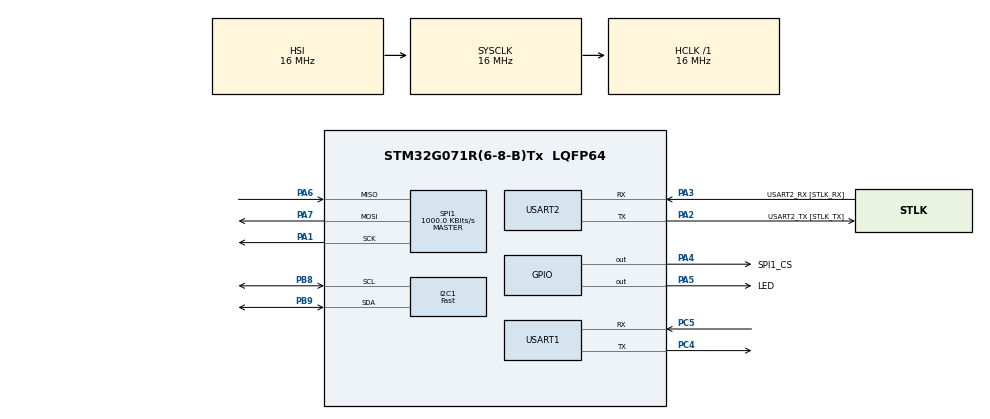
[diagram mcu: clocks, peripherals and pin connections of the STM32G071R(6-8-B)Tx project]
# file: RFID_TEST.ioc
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I2C1.I2C_Speed_Mode=I2C_Fast
I2C1.Timing=0x0010061A
Mcu.Family=STM32G0
Mcu.Name=STM32G071R(6-8-B)Tx
Mcu.Package=LQFP64
NVIC.I2C1_IRQn=true\:0\:0\:false\:false\:true\:true\:true
NVIC.SPI1_IRQn=true\:0\:0\:false\:false\:true\:true\:true
PA1.Mode=Full_Duplex_Master
PA1.Signal=SPI1_SCK
PA13.GPIO_Label=TMS
PA13.Mode=Serial_Wire
PA13.Signal=SYS_SWDIO
PA14-BOOT0.GPIO_Label=TCK
PA14-BOOT0.Mode=Serial_Wire
PA14-BOOT0.Signal=SYS_SWCLK
PA2.GPIO_Label=USART2_TX [STLK_TX]
PA2.Mode=Asynchronous
PA2.Signal=USART2_TX
PA3.GPIO_Label=USART2_RX [STLK_RX]
PA3.Mode=Asynchronous
PA3.Signal=USART2_RX
PA4.GPIO_Label=SPI1_CS
PA4.Signal=GPIO_Output
PA5.GPIO_Label=LED
PA5.Signal=GPIO_Output
PA6.Mode=Full_Duplex_Master
PA6.Signal=SPI1_MISO
PA7.Mode=Full_Duplex_Master
PA7.Signal=SPI1_MOSI
PB8.Mode=I2C
PB8.Signal=I2C1_SCL
PB9.Mode=I2C
PB9.Signal=I2C1_SDA
PC13.Mode=SYS_WakeUp1
PC13.Signal=SYS_WKUP2
PC14-OSC32_IN\ (PC14).Mode=LSE-External-Oscillator
PC14-OSC32_IN\ (PC14).Signal=RCC_OSC32_IN
PC15-OSC32_OUT\ (PC15).Mode=LSE-External-Oscillator
PC15-OSC32_OUT\ (PC15).Signal=RCC_OSC32_OUT
PC4.Mode=Asynchronous
PC4.Signal=USART1_TX
PC5.Mode=Asynchronous
PC5.Signal=USART1_RX
PF0-OSC_IN\ (PF0).GPIO_Label=MCO
PF0-OSC_IN\ (PF0).Mode=HSE-External-Clock-Source
PF0-OSC_IN\ (PF0).Signal=RCC_OSC_IN
ProjectManager.HeapSize=0x200
ProjectManager.StackSize=0x400
ProjectManager.TargetToolchain=TrueSTUDIO
RCC.ADCFreq_Value=16000000
RCC.AHBFreq_Value=16000000
RCC.CortexFreq_Value=16000000
RCC.EXTERNAL_CLOCK_VALUE=12288000
RCC.HCLKFreq_Value=16000000
RCC.HSE_VALUE=8000000
RCC.HSI_VALUE=16000000
RCC.SYSCLKFreq_VALUE=16000000
RCC.VCOOutputFreq_Value=128000000
SPI1.BaudRatePrescaler=SPI_BAUDRATEPRESCALER_16
SPI1.CRCCalculation=SPI_CRCCALCULATION_DISABLE
SPI1.CalculateBaudRate=1000.0 KBits/s
SPI1.DataSize=SPI_DATASIZE_8BIT
SPI1.Direction=SPI_DIRECTION_2LINES
SPI1.Mode=SPI_MODE_MASTER
SPI1.NSSPMode=SPI_NSS_PULSE_ENABLE
SPI1.VirtualType=VM_MASTER
USART1.VirtualMode-Asynchronous=VM_ASYNC
USART2.VirtualMode-Asynchronous=VM_ASYNC
VP_SYS_VS_DBSignals.Mode=DisableDeadBatterySignals
board=NUCLEO-G071RB

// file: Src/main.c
/* USER CODE BEGIN Header */
/**
 ******************************************************************************
 * @file           : main.c
 * @brief          : Main program body
 ******************************************************************************
 * @attention
 *
 * <h2><center>&copy; Copyright (c) 2020 STMicroelectronics.
 * All rights reserved.</center></h2>
 *
 * This software component is licensed by ST under BSD 3-Clause license,
 * the "License"; You may not use this file except in compliance with the
 * License. You may obtain a copy of the License at:
 *                        opensource.org/licenses/BSD-3-Clause
 *
 ******************************************************************************
 */
/* USER CODE END Header */

#include "main.h"

/* USER CODE BEGIN Includes */
#include <math.h>
#include <string.h>
#include <stdio.h>
#include <stdlib.h>
#include <stdbool.h>

#include "rc522.h"

/* USER CODE END Includes */

/* USER CODE BEGIN PD */

#define VERSION			0.0
#define SLAVE_ADDRESS_LCD 0x4E
/* USER CODE END PD */

I2C_HandleTypeDef hi2c1;

SPI_HandleTypeDef hspi1;

UART_HandleTypeDef huart1;
UART_HandleTypeDef huart2;

/* USER CODE BEGIN PV */
uint8_t k;
uint8_t i;
uint8_t j;
uint8_t b;
uint8_t q;
uint8_t en;
uint8_t ok;
uint8_t comand;
uint8_t text1[63] = "\r\n RFID 13.56 MHz\r\n";
uint8_t memIDtext[18] = " CARTAO ID OK   \r\n";
uint8_t text2[9] = "ID: \r\n";
uint8_t end[1] = "\r";
uint8_t txBuffer[18] = "ID: 00000000  ";
uint8_t retstr[10];
uint8_t rxBuffer[8]="CC00FFEE";
uint8_t lastID[4];
uint8_t memID[8] = "20957B4D";
uint8_t str[MFRC522_MAX_LEN];
uint8_t Data[140];
/* USER CODE END PV */

void SystemClock_Config(void);
static void MX_GPIO_Init(void);
static void MX_USART2_UART_Init(void);
static void MX_I2C1_Init(void);
static void MX_SPI1_Init(void);
static void MX_USART1_UART_Init(void);
/* USER CODE BEGIN PFP */

void fn_fprint(char *data);
void blink(uint8_t sec);

uint8_t MFRC522_Check(uint8_t* id);
uint8_t MFRC522_Compare(uint8_t* CardID, uint8_t* CompareID);
void MFRC522_WriteRegister(uint8_t addr, uint8_t val);
uint8_t MFRC522_ReadRegister(uint8_t addr);
void MFRC522_SetBitMask(uint8_t reg, uint8_t mask);
void MFRC522_ClearBitMask(uint8_t reg, uint8_t mask);
uint8_t MFRC522_Request(uint8_t reqMode, uint8_t* TagType);
uint8_t MFRC522_ToCard(uint8_t command, uint8_t* sendData, uint8_t sendLen,
		uint8_t* backData, uint16_t* backLen);
uint8_t MFRC522_Anticoll(uint8_t* serNum);
void MFRC522_CalulateCRC(uint8_t* pIndata, uint8_t len, uint8_t* pOutData);
uint8_t MFRC522_SelectTag(uint8_t* serNum);
uint8_t MFRC522_Auth(uint8_t authMode, uint8_t BlockAddr, uint8_t* Sectorkey,
		uint8_t* serNum);
uint8_t MFRC522_Read(uint8_t blockAddr, uint8_t* recvData);
uint8_t MFRC522_Write(uint8_t blockAddr, uint8_t* writeData);
void MFRC522_Init(void);
void MFRC522_Reset(void);
void MFRC522_AntennaOn(void);
void MFRC522_AntennaOff(void);
void MFRC522_Halt(void);

uint8_t hex_to_char(uint8_t data);

void char_to_hex(uint8_t data);
void StrTo();
void ToStr(uint32_t number);
void led(uint8_t n);
/* USER CODE END PFP */

int main(void) {

	/* MCU Configuration--------------------------------------------------------*/

	/* Reset of all peripherals, Initializes the Flash interface and the Systick. */
	HAL_Init();

	/* Configure the system clock */
	SystemClock_Config();

	/* Initialize all configured peripherals */
	MX_GPIO_Init();
	MX_USART2_UART_Init();
	MX_I2C1_Init();
	MX_SPI1_Init();
	MX_USART1_UART_Init();
	/* USER CODE BEGIN 2 */
	blink(10);
	fn_fprint("Start Program");
	fn_fprint("\r\n");
	cs_set
	MFRC522_Init();
	fn_fprint("MFRC522_Init");
	fn_fprint("\r\n");
	/* USER CODE END 2 */

	/* Infinite loop */
	while (1) {
		if (!MFRC522_Request(PICC_REQIDL, str)) {
			if (!MFRC522_Anticoll(str)) {
				j = 0;
				q = 0;
				b = 9;
				en = 1;

				for (i = 0; i < 4; i++)
					if (lastID[i] != str[i])
						j = 1;

				if (j && en) {
					q = 0;
					en = 0;
					for (i = 0; i < 4; i++)
						lastID[i] = str[i];
					for (i = 0; i < 4; i++) {
						char_to_hex(str[i]);
						txBuffer[b] = retstr[0];
						b++;
						txBuffer[b] = retstr[1];
						b++;
					}
					HAL_UART_Transmit(&huart1, txBuffer, 18, 100);
					HAL_UART_Transmit(&huart1, (uint8_t*)"\r\n", 2, 10);

					ok = 1;
					for (i = 0; i < 8; i++) {
						if (txBuffer[9 + i] != memID[i])
							ok = 0;
					}

					blink(1);
				}

				blink(1);
			}
		}

		if (ok == 1) {
			HAL_UART_Transmit(&huart1, memIDtext, 18, 100);
			HAL_Delay(200);
			ok = 0;
			for (i = 0; i < 10; i++) {
				LED_ON
				HAL_Delay(50);
				LED_OFF
				HAL_Delay(100);
			}
		}

		if (huart1.RxXferCount == 0) {
			blink(1);
			comand = rxBuffer[0];
			if (comand == '1') {
				blink(1);
				HAL_UART_Transmit(&huart1, txBuffer, 18, 100);

			}
			HAL_UART_Receive_IT(&huart1, (uint8_t*) rxBuffer, 1);
		}
		//HAL_UART_Transmit(&huart1, txBuffer, 18, 100);
/*		if (HAL_GPIO_ReadPin(GPIOA, GPIO_PIN_1) == GPIO_PIN_RESET) {
			HAL_UART_Transmit(&huart1, txBuffer, 18, 100);

			blink(1);
			while (HAL_GPIO_ReadPin(GPIOA, GPIO_PIN_1) == GPIO_PIN_RESET)
				;
			HAL_Delay(100);
		}*/

		//q++;
		//if (!q) {
			en = 1;									// Delay against scan kode
			//for (i = 0; i < 4; i++)
				lastID[0] = 0;				// Delay reading the same card 3s
				lastID[1] = 0;
				lastID[2] = 0;
				lastID[3] = 0;
		//}
		HAL_Delay(1);
	}
}

void SystemClock_Config(void) {
	RCC_OscInitTypeDef RCC_OscInitStruct = { 0 };
	RCC_ClkInitTypeDef RCC_ClkInitStruct = { 0 };
	RCC_PeriphCLKInitTypeDef PeriphClkInit = { 0 };

	/** Configure the main internal regulator output voltage
	 */
	HAL_PWREx_ControlVoltageScaling(PWR_REGULATOR_VOLTAGE_SCALE1);
	/** Initializes the CPU, AHB and APB busses clocks
	 */
	RCC_OscInitStruct.OscillatorType = RCC_OSCILLATORTYPE_HSI;
	RCC_OscInitStruct.HSIState = RCC_HSI_ON;
	RCC_OscInitStruct.HSIDiv = RCC_HSI_DIV1;
	RCC_OscInitStruct.HSICalibrationValue = RCC_HSICALIBRATION_DEFAULT;
	RCC_OscInitStruct.PLL.PLLState = RCC_PLL_NONE;
	if (HAL_RCC_OscConfig(&RCC_OscInitStruct) != HAL_OK) {
		Error_Handler();
	}
	/** Initializes the CPU, AHB and APB busses clocks
	 */
	RCC_ClkInitStruct.ClockType = RCC_CLOCKTYPE_HCLK | RCC_CLOCKTYPE_SYSCLK
			| RCC_CLOCKTYPE_PCLK1;
	RCC_ClkInitStruct.SYSCLKSource = RCC_SYSCLKSOURCE_HSI;
	RCC_ClkInitStruct.AHBCLKDivider = RCC_SYSCLK_DIV1;
	RCC_ClkInitStruct.APB1CLKDivider = RCC_HCLK_DIV1;

	if (HAL_RCC_ClockConfig(&RCC_ClkInitStruct, FLASH_LATENCY_0) != HAL_OK) {
		Error_Handler();
	}
	/** Initializes the peripherals clocks
	 */
	PeriphClkInit.PeriphClockSelection = RCC_PERIPHCLK_USART1
			| RCC_PERIPHCLK_USART2 | RCC_PERIPHCLK_I2C1;
	PeriphClkInit.Usart1ClockSelection = RCC_USART1CLKSOURCE_PCLK1;
	PeriphClkInit.Usart2ClockSelection = RCC_USART2CLKSOURCE_PCLK1;
	PeriphClkInit.I2c1ClockSelection = RCC_I2C1CLKSOURCE_PCLK1;
	if (HAL_RCCEx_PeriphCLKConfig(&PeriphClkInit) != HAL_OK) {
		Error_Handler();
	}
}

static void MX_I2C1_Init(void) {

	hi2c1.Instance = I2C1;
	hi2c1.Init.Timing = 0x0010061A;
	hi2c1.Init.OwnAddress1 = 0;
	hi2c1.Init.AddressingMode = I2C_ADDRESSINGMODE_7BIT;
	hi2c1.Init.DualAddressMode = I2C_DUALADDRESS_DISABLE;
	hi2c1.Init.OwnAddress2 = 0;
	hi2c1.Init.OwnAddress2Masks = I2C_OA2_NOMASK;
	hi2c1.Init.GeneralCallMode = I2C_GENERALCALL_DISABLE;
	hi2c1.Init.NoStretchMode = I2C_NOSTRETCH_DISABLE;
	if (HAL_I2C_Init(&hi2c1) != HAL_OK) {
		Error_Handler();
	}
	/** Configure Analogue filter
	 */
	if (HAL_I2CEx_ConfigAnalogFilter(&hi2c1, I2C_ANALOGFILTER_ENABLE)
			!= HAL_OK) {
		Error_Handler();
	}
	/** Configure Digital filter
	 */
	if (HAL_I2CEx_ConfigDigitalFilter(&hi2c1, 0) != HAL_OK) {
		Error_Handler();
	}

}

static void MX_SPI1_Init(void) {

	/* SPI1 parameter configuration*/
	hspi1.Instance = SPI1;
	hspi1.Init.Mode = SPI_MODE_MASTER;
	hspi1.Init.Direction = SPI_DIRECTION_2LINES;
	hspi1.Init.DataSize = SPI_DATASIZE_8BIT;
	hspi1.Init.CLKPolarity = SPI_POLARITY_LOW;
	hspi1.Init.CLKPhase = SPI_PHASE_1EDGE;
	hspi1.Init.NSS = SPI_NSS_SOFT;
	hspi1.Init.BaudRatePrescaler = SPI_BAUDRATEPRESCALER_16;
	hspi1.Init.FirstBit = SPI_FIRSTBIT_MSB;
	hspi1.Init.TIMode = SPI_TIMODE_DISABLE;
	hspi1.Init.CRCCalculation = SPI_CRCCALCULATION_DISABLE;
	hspi1.Init.CRCPolynomial = 10;
	hspi1.Init.CRCLength = SPI_CRC_LENGTH_DATASIZE;
	hspi1.Init.NSSPMode = SPI_NSS_PULSE_ENABLE;
	if (HAL_SPI_Init(&hspi1) != HAL_OK) {
		Error_Handler();
	}

}

static void MX_USART1_UART_Init(void) {

	huart1.Instance = USART1;
	huart1.Init.BaudRate = 9600;
	huart1.Init.WordLength = UART_WORDLENGTH_8B;
	huart1.Init.StopBits = UART_STOPBITS_1;
	huart1.Init.Parity = UART_PARITY_NONE;
	huart1.Init.Mode = UART_MODE_TX_RX;
	huart1.Init.HwFlowCtl = UART_HWCONTROL_NONE;
	huart1.Init.OverSampling = UART_OVERSAMPLING_16;
	huart1.Init.OneBitSampling = UART_ONE_BIT_SAMPLE_DISABLE;
	huart1.Init.ClockPrescaler = UART_PRESCALER_DIV1;
	huart1.AdvancedInit.AdvFeatureInit = UART_ADVFEATURE_NO_INIT;
	if (HAL_UART_Init(&huart1) != HAL_OK) {
		Error_Handler();
	}
	if (HAL_UARTEx_SetTxFifoThreshold(&huart1, UART_TXFIFO_THRESHOLD_1_8)
			!= HAL_OK) {
		Error_Handler();
	}
	if (HAL_UARTEx_SetRxFifoThreshold(&huart1, UART_RXFIFO_THRESHOLD_1_8)
			!= HAL_OK) {
		Error_Handler();
	}
	if (HAL_UARTEx_DisableFifoMode(&huart1) != HAL_OK) {
		Error_Handler();
	}

}

static void MX_USART2_UART_Init(void) {

	huart2.Instance = USART2;
	huart2.Init.BaudRate = 115200;
	huart2.Init.WordLength = UART_WORDLENGTH_8B;
	huart2.Init.StopBits = UART_STOPBITS_1;
	huart2.Init.Parity = UART_PARITY_NONE;
	huart2.Init.Mode = UART_MODE_TX_RX;
	huart2.Init.HwFlowCtl = UART_HWCONTROL_NONE;
	huart2.Init.OverSampling = UART_OVERSAMPLING_16;
	huart2.Init.OneBitSampling = UART_ONE_BIT_SAMPLE_DISABLE;
	huart2.Init.ClockPrescaler = UART_PRESCALER_DIV1;
	huart2.AdvancedInit.AdvFeatureInit = UART_ADVFEATURE_NO_INIT;
	if (HAL_UART_Init(&huart2) != HAL_OK) {
		Error_Handler();
	}
	if (HAL_UARTEx_SetTxFifoThreshold(&huart2, UART_TXFIFO_THRESHOLD_1_8)
			!= HAL_OK) {
		Error_Handler();
	}
	if (HAL_UARTEx_SetRxFifoThreshold(&huart2, UART_RXFIFO_THRESHOLD_1_8)
			!= HAL_OK) {
		Error_Handler();
	}
	if (HAL_UARTEx_DisableFifoMode(&huart2) != HAL_OK) {
		Error_Handler();
	}

}

static void MX_GPIO_Init(void) {
	GPIO_InitTypeDef GPIO_InitStruct = { 0 };

	/* GPIO Ports Clock Enable */
	__HAL_RCC_GPIOC_CLK_ENABLE()
	;
	__HAL_RCC_GPIOF_CLK_ENABLE()
	;
	__HAL_RCC_GPIOA_CLK_ENABLE()
	;
	__HAL_RCC_GPIOB_CLK_ENABLE()
	;

	/*Configure GPIO pin Output Level */
	HAL_GPIO_WritePin(GPIOA, SPI1_CS_Pin | LED_Pin, GPIO_PIN_RESET);

	/*Configure GPIO pins : SPI1_CS_Pin LED_Pin */
	GPIO_InitStruct.Pin = SPI1_CS_Pin | LED_Pin;
	GPIO_InitStruct.Mode = GPIO_MODE_OUTPUT_PP;
	GPIO_InitStruct.Pull = GPIO_NOPULL;
	GPIO_InitStruct.Speed = GPIO_SPEED_FREQ_LOW;
	HAL_GPIO_Init(GPIOA, &GPIO_InitStruct);

}

/* USER CODE BEGIN 4 */
//print on uart
void fn_fprint(char *data) {
	int tamanho = strlen(data);
	char new_command[tamanho];
	strcpy(new_command, data);
	char new_com[1]; // (uint8_t*)new_command;
	for (int var = 0; var < tamanho; ++var) {
		new_com[0] = new_command[var];
		HAL_UART_Transmit(&huart1, (uint8_t*) new_com, 1, 10);
	}
}
//blink led
void blink(uint8_t sec) {
	for (int var = 0; var < sec; ++var) {
		LED_ON
		HAL_Delay(25);
		LED_OFF
		HAL_Delay(25);
	}

}

uint8_t hex_to_char(uint8_t data) {
	uint8_t number;

	if (rxBuffer[data] < 58) number = (rxBuffer[data]-48)*16; else number = (rxBuffer[data]-55)*16;
	data++;
	if (rxBuffer[data] < 58) number = number+(rxBuffer[data]-48); else number = number+(rxBuffer[data]-55);
	return number;
}

// char number to string hex (FF) (Only big letters!)
void char_to_hex(uint8_t data) {
	uint8_t digits[] = {'0','1','2','3','4','5','6','7','8','9','A','B','C','D','E','F'};

	if (data < 16) {
		retstr[0] = '0';
		retstr[1] = digits[data];
	} else {
		retstr[0] = digits[(data & 0xF0)>>4];
		retstr[1] = digits[(data & 0x0F)];
	}
}

// Number to string (16 bit)
void StrTo() {
	uint32_t	number;
	uint32_t 	ret;

	number = 0;
	ret = 0;
	ret = retstr[0]-0x30;
	number = ret*1000000;
	ret = retstr[1]-0x30;
	number = number+ret*100000;
	ret = retstr[2]-0x30;
	number = number+ret*10000;
	ret = retstr[3]-0x30;
	number = number+ret*1000;
	ret = retstr[4]-0x30;
	number = number+ret*100;
	ret = retstr[5]-0x30;
	number = number+ret*10;
	ret = retstr[6]-0x30;
	number = number+ret;
}

// String to number (32 bit)
void ToStr(uint32_t number) {
	uint32_t i;

	i = number/1000000000;
	number = number-i*1000000000;
	retstr[0] = i+0x30;

	i=number/100000000;
	number=number-i*100000000;
	retstr[1] = i+0x30;

	i = number/10000000;
	number = number-i*10000000;
	retstr[2] = i+0x30;

	i = number/1000000;
	number = number-i*1000000;
	retstr[3] = i+0x30;

	i = number/100000;
	number = number-i*100000;
	retstr[4] = i+0x30;

	i = number/10000;
	number = number-i*10000;
	retstr[5] = i+0x30;

	i = number/1000;
	number = number-i*1000;
	retstr[6] = i+0x30;

	i = number/100;
	number = number-i*100;
	retstr[7] = i+0x30;

	i = number/10;
	number = number-i*10;
	retstr[8] = i+0x30;

	retstr[9] = number+0x30;
}

/* USER CODE END 4 */

void Error_Handler(void) {
}

/************************ (C) COPYRIGHT STMicroelectronics *****END OF FILE****/
